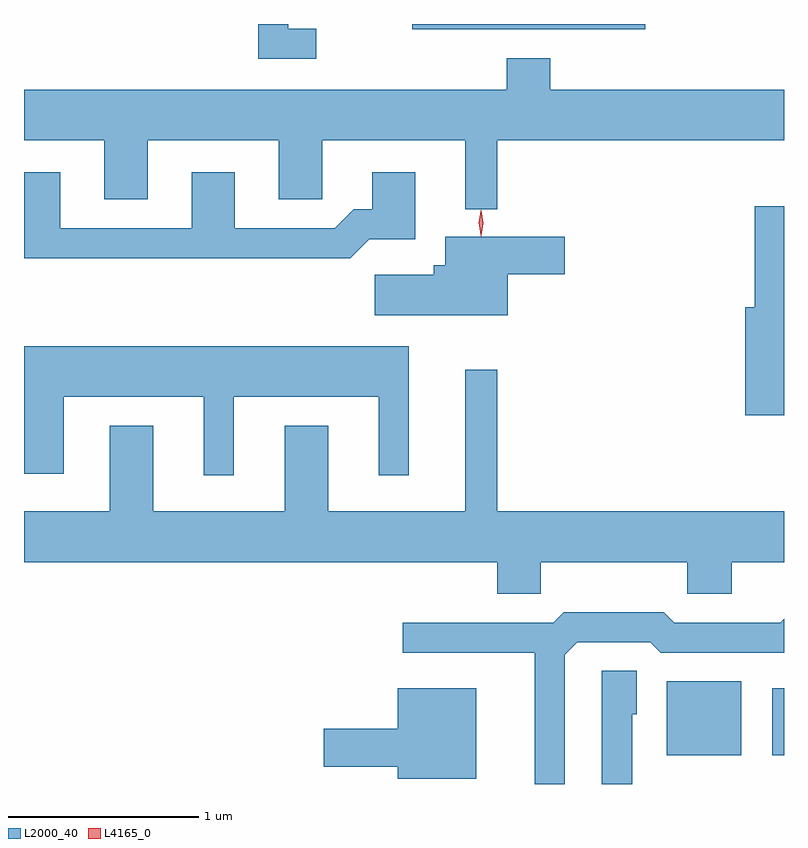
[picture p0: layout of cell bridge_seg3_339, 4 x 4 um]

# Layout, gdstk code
import gdstk
lib = gdstk.Library(unit=1e-6, precision=1e-09)
def R(c, l, rs):  # rectangles x0, y0, x1, y1
    for r in rs: c.add(gdstk.rectangle(r[:2], r[2:], *l))
def P(c, l, *ps):  # polygons
    for p in ps: c.add(gdstk.Polygon(p, *l))
L2000_40 = (2000, 40)
L4165_0 = (4165, 0)

bridge_seg3_339 = lib.new_cell('bridge_seg3_339')
R(bridge_seg3_339, L2000_40, [(604.831,1122.781,605.224,1123.169), (605.386,1122.781,605.449,1123.134), (603.493,1126.601,604.718,1126.629)])
P(bridge_seg3_339, L2000_40, [(602.988,1126.604),(602.839,1126.604),(602.839,1126.629),(602.681,1126.629),(602.681,1126.446),(602.988,1126.446)],
  [(603.939,1126.016),(605.449,1126.016),(605.449,1126.284),(604.219,1126.284),(604.219,1126.449),(603.991,1126.449),(603.991,1126.284),(601.449,1126.284),(601.449,1126.016),(601.871,1126.016),(601.871,1125.706),(602.099,1125.706),(602.099,1126.016),(602.791,1126.016),(602.791,1125.706),(603.019,1125.706),(603.019,1126.016),(603.771,1126.016),(603.771,1125.653),(603.939,1125.653)],
  [(603.267,1125.496),(603.509,1125.496),(603.509,1125.849),(603.281,1125.849),(603.281,1125.654),(603.184,1125.654),(603.084,1125.554),(602.559,1125.554),(602.559,1125.849),(602.331,1125.849),(602.331,1125.554),(601.639,1125.554),(601.639,1125.849),(601.449,1125.849),(601.449,1125.396),(603.167,1125.396)],
  [(605.449,1125.669),(605.296,1125.669),(605.296,1125.139),(605.246,1125.139),(605.246,1124.571),(605.449,1124.571)],
  [(603.994,1125.311),(604.294,1125.311),(604.294,1125.509),(603.666,1125.509),(603.666,1125.359),(603.606,1125.359),(603.606,1125.309),(603.296,1125.309),(603.296,1125.096),(603.994,1125.096)],
  [(602.554,1124.666),(603.316,1124.666),(603.316,1124.253),(603.474,1124.253),(603.474,1124.934),(601.449,1124.934),(601.449,1124.666),(601.451,1124.666),(601.451,1124.261),(601.659,1124.261),(601.659,1124.666),(602.396,1124.666),(602.396,1124.253),(602.554,1124.253)],
  [(604.169,1123.796),(604.941,1123.796),(604.941,1123.631),(605.174,1123.631),(605.174,1123.796),(605.449,1123.796),(605.449,1124.064),(603.939,1124.064),(603.939,1124.808),(603.771,1124.808),(603.771,1124.064),(603.049,1124.064),(603.049,1124.514),(602.821,1124.514),(602.821,1124.064),(602.129,1124.064),(602.129,1124.514),(601.901,1124.514),(601.901,1124.064),(601.449,1124.064),(601.449,1123.796),(603.941,1123.796),(603.941,1123.631),(604.169,1123.631)],
  [(604.294,1123.309),(604.362,1123.376),(604.744,1123.376),(604.799,1123.321),(605.449,1123.321),(605.449,1123.499),(605.429,1123.479),(604.872,1123.479),(604.817,1123.534),(604.289,1123.534),(604.234,1123.479),(603.443,1123.479),(603.443,1123.321),(604.136,1123.321),(604.136,1122.629),(604.294,1122.629)],
  [(604.649,1122.996),(604.674,1122.996),(604.674,1123.224),(604.491,1123.224),(604.491,1122.629),(604.649,1122.629)],
  [(603.829,1123.134),(603.416,1123.134),(603.416,1122.919),(603.026,1122.919),(603.026,1122.721),(603.416,1122.721),(603.416,1122.656),(603.829,1122.656)])
P(bridge_seg3_339, L4165_0, [(603.855,1125.513),(603.854,1125.514),(603.845,1125.581),(603.854,1125.649),(603.855,1125.65),(603.855,1125.649),(603.865,1125.581),(603.855,1125.514)],
  [(603.853,1125.518),(603.853,1125.519),(603.843,1125.582),(603.853,1125.646),(603.853,1125.647),(603.854,1125.646),(603.863,1125.582),(603.854,1125.519)])

lib.write_gds('bridge_seg3_339.gds')
